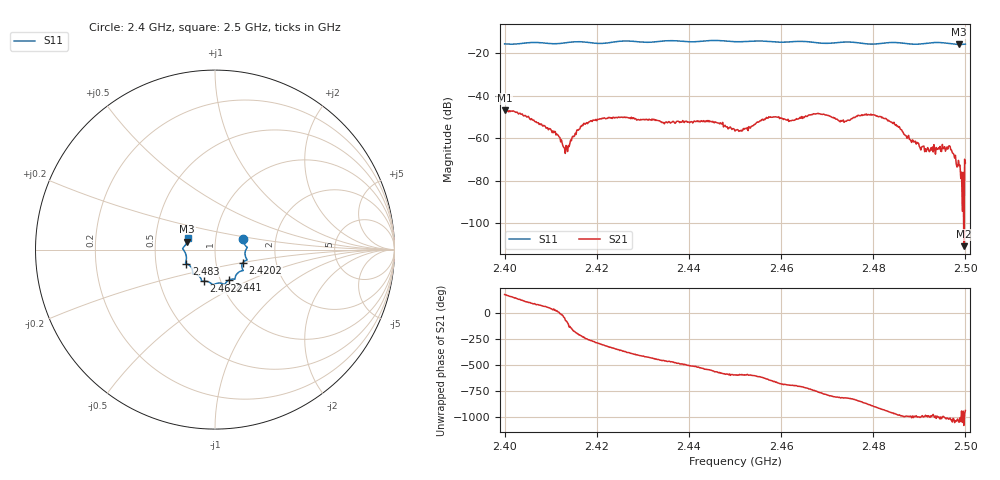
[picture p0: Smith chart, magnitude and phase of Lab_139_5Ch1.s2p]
# Hz S RI R 50
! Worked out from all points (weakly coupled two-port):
!   601 points, 2.4 GHz to 2.5 GHz, reference 50 ohm
!   highest |S21| = -46.87 dB at 2.4 GHz (marker M1); lowest = -110.7 dB at 2.4997 GHz (marker M2)
!   lowest |S11| = -15.8 dB at 2.4987 GHz (marker M3), VSWR 1.39, Z = 36.4 + j3.34 ohm
!   |S11| at or under -10 dB: start of sweep to end of sweep
!   S12 and S22 are empty: the file has one direction only
!   S11 on the Smith chart (normalised r, x): 2.4 GHz: 1.36, +0.17; 2.4202 GHz: 1.35, -0.20; 2.441 GHz: 1.09, -0.39; 2.4622 GHz: 0.83, -0.30; 2.483 GHz: 0.72, -0.12; 2.5 GHz: 0.73, +0.09
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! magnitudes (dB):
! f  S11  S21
! 2.4 GHz  -15.5  -46.9
! 2.4048 GHz  -15.1  -50.0
! 2.4105 GHz  -15.5  -56.5
! 2.4132 GHz  -15.0  -67.1
! 2.4167 GHz  -14.6  -54.4
! 2.4202 GHz  -15.3  -51.0
! 2.4333 GHz  -14.4  -51.6
! 2.441 GHz  -14.6  -52.2
! 2.45 GHz  -14.5  -56.6
! 2.4573 GHz  -14.4  -49.8
! 2.4622 GHz  -14.5  -51.7
! 2.4667 GHz  -14.7  -48.8
! 2.4732 GHz  -14.8  -51.9
! 2.4787 GHz  -15.6  -49.1
! 2.483 GHz  -15.0  -51.2
! 2.4833 GHz  -15.0  -51.5
! 2.4917 GHz  -15.2  -65.1
! 2.4965 GHz  -15.4  -63.5
! 2.4987 GHz  -15.8  -72.8
! 2.4992 GHz  -15.8  -75.9
! 2.4997 GHz  -15.7  -110.7
! 2.5 GHz  -15.6  -71.5
